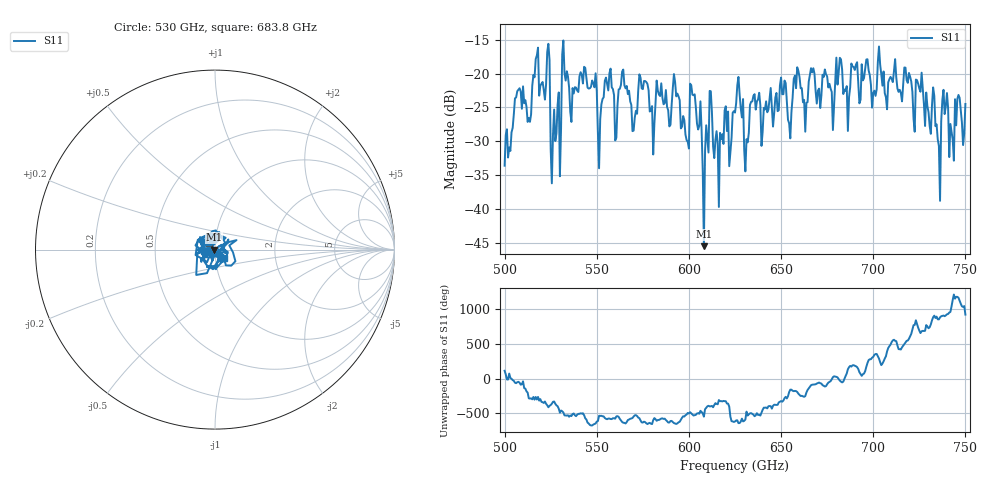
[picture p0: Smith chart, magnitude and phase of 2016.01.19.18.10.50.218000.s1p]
!Created with skrf (http://scikit-rf.org).
# GHz S RI R 50.0
!freq ReS11 ImS11
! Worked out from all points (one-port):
!   401 points, 500 GHz to 750 GHz, reference 50 ohm
!   lowest |S11| = -45.5 dB at 608.1 GHz (marker M1), VSWR 1.01, Z = 49.5 + j0.0533 ohm
!   |S11| at or under -10 dB: start of sweep to end of sweep
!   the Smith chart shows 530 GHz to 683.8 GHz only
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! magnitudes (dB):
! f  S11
! 500 GHz  -33.6
! 506.9 GHz  -22.6
! 513.1 GHz  -26.6
! 516.9 GHz  -17.9
! 523.1 GHz  -16.8
! 526.2 GHz  -29.0
! 531.2 GHz  -17.2
! 542.5 GHz  -21.5
! 551.9 GHz  -26.7
! 562.5 GHz  -22.3
! 570.6 GHz  -26.5
! 574.4 GHz  -22.2
! 593.8 GHz  -23.0
! 598.8 GHz  -29.8
! 601.9 GHz  -23.1
! 608.1 GHz  -45.5
! 611.2 GHz  -22.6
! 615 GHz  -28.5
! 625 GHz  -25.8
! 631.2 GHz  -29.7
! 634.4 GHz  -24.1
! 656.2 GHz  -23.6
! 687.5 GHz  -22.0
! 718.8 GHz  -21.4
! 735 GHz  -29.7
! 738.8 GHz  -26.0
! 742.5 GHz  -28.7
! 750 GHz  -24.5
